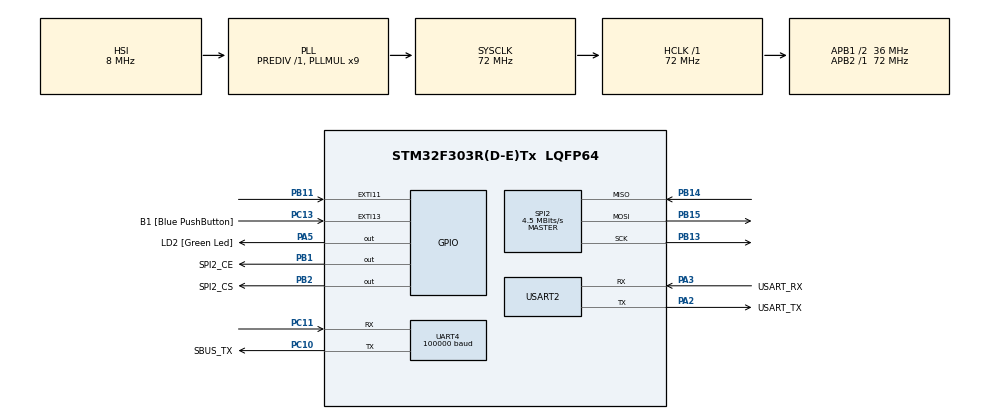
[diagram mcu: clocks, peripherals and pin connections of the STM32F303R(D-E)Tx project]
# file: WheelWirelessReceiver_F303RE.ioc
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Dma.Request0=UART4_TX
Dma.Request1=SPI2_RX
Dma.Request2=SPI2_TX
Dma.SPI2_RX.1.Direction=DMA_PERIPH_TO_MEMORY
Dma.SPI2_RX.1.Instance=DMA1_Channel4
Dma.SPI2_RX.1.MemDataAlignment=DMA_MDATAALIGN_BYTE
Dma.SPI2_RX.1.MemInc=DMA_MINC_ENABLE
Dma.SPI2_RX.1.Mode=DMA_NORMAL
Dma.SPI2_RX.1.PeriphDataAlignment=DMA_PDATAALIGN_BYTE
Dma.SPI2_RX.1.PeriphInc=DMA_PINC_DISABLE
Dma.SPI2_RX.1.Priority=DMA_PRIORITY_LOW
Dma.SPI2_TX.2.Direction=DMA_MEMORY_TO_PERIPH
Dma.SPI2_TX.2.Instance=DMA1_Channel5
Dma.SPI2_TX.2.MemDataAlignment=DMA_MDATAALIGN_BYTE
Dma.SPI2_TX.2.MemInc=DMA_MINC_ENABLE
Dma.SPI2_TX.2.Mode=DMA_NORMAL
Dma.SPI2_TX.2.PeriphDataAlignment=DMA_PDATAALIGN_BYTE
Dma.SPI2_TX.2.PeriphInc=DMA_PINC_DISABLE
Dma.SPI2_TX.2.Priority=DMA_PRIORITY_LOW
Dma.UART4_TX.0.Direction=DMA_MEMORY_TO_PERIPH
Dma.UART4_TX.0.Instance=DMA2_Channel5
Dma.UART4_TX.0.MemDataAlignment=DMA_MDATAALIGN_BYTE
Dma.UART4_TX.0.MemInc=DMA_MINC_ENABLE
Dma.UART4_TX.0.Mode=DMA_NORMAL
Dma.UART4_TX.0.PeriphDataAlignment=DMA_PDATAALIGN_BYTE
Dma.UART4_TX.0.PeriphInc=DMA_PINC_DISABLE
Dma.UART4_TX.0.Priority=DMA_PRIORITY_LOW
Mcu.Family=STM32F3
Mcu.Name=STM32F303R(D-E)Tx
Mcu.Package=LQFP64
NVIC.DMA1_Channel4_IRQn=true\:0\:0\:false\:false\:true\:false\:true\:true
NVIC.DMA1_Channel5_IRQn=true\:0\:0\:false\:false\:true\:false\:true\:true
NVIC.DMA2_Channel5_IRQn=true\:0\:0\:false\:false\:true\:false\:true\:true
NVIC.PriorityGroup=NVIC_PRIORITYGROUP_0
NVIC.SPI2_IRQn=true\:0\:0\:false\:false\:true\:true\:true\:true
NVIC.UART4_IRQn=true\:0\:0\:false\:false\:true\:true\:true\:true
PA13.GPIO_Label=TMS
PA13.Mode=Serial_Wire
PA13.Signal=SYS_JTMS-SWDIO
PA14.GPIO_Label=TCK
PA14.Mode=Serial_Wire
PA14.Signal=SYS_JTCK-SWCLK
PA2.GPIO_Label=USART_TX
PA2.GPIO_Mode=GPIO_MODE_AF_PP
PA2.GPIO_PuPd=GPIO_NOPULL
PA2.GPIO_Speed=GPIO_SPEED_FREQ_LOW
PA2.Mode=Asynchronous
PA2.Signal=USART2_TX
PA3.GPIO_Label=USART_RX
PA3.GPIO_Mode=GPIO_MODE_AF_PP
PA3.GPIO_PuPd=GPIO_NOPULL
PA3.GPIO_Speed=GPIO_SPEED_FREQ_LOW
PA3.Mode=Asynchronous
PA3.Signal=USART2_RX
PA5.GPIO_Label=LD2 [Green Led]
PA5.GPIO_Mode=GPIO_MODE_OUTPUT_PP
PA5.GPIO_PuPd=GPIO_NOPULL
PA5.GPIO_Speed=GPIO_SPEED_FREQ_LOW
PA5.Signal=GPIO_Output
PB1.GPIO_Label=SPI2_CE
PB1.GPIO_Speed=GPIO_SPEED_FREQ_HIGH
PB1.Signal=GPIO_Output
PB11.Signal=GPXTI11
PB13.Mode=Full_Duplex_Master
PB13.Signal=SPI2_SCK
PB14.Mode=Full_Duplex_Master
PB14.Signal=SPI2_MISO
PB15.Mode=Full_Duplex_Master
PB15.Signal=SPI2_MOSI
PB2.GPIO_Label=SPI2_CS
PB2.GPIO_Speed=GPIO_SPEED_FREQ_HIGH
PB2.Signal=GPIO_Output
PB3.GPIO_Label=SWO
PB3.Signal=SYS_JTDO-TRACESWO
PC10.GPIO_Label=SBUS_TX
PC10.Mode=Asynchronous
PC10.Signal=UART4_TX
PC11.Mode=Asynchronous
PC11.Signal=UART4_RX
PC13.GPIO_Label=B1 [Blue PushButton]
PC13.GPIO_ModeDefaultEXTI=GPIO_MODE_IT_FALLING
PC13.Signal=GPXTI13
PC14-OSC32_IN.Mode=LSE-External-Oscillator
PC14-OSC32_IN.Signal=RCC_OSC32_IN
PC15-OSC32_OUT.Mode=LSE-External-Oscillator
PC15-OSC32_OUT.Signal=RCC_OSC32_OUT
PF0-OSC_IN.Mode=HSE-External-Clock-Source
PF0-OSC_IN.Signal=RCC_OSC_IN
PF1-OSC_OUT.Signal=RCC_OSC_OUT
ProjectManager.HeapSize=0x200
ProjectManager.StackSize=0x400
ProjectManager.TargetToolchain=STM32CubeIDE
RCC.AHBFreq_Value=72000000
RCC.APB1CLKDivider=RCC_HCLK_DIV2
RCC.APB1Freq_Value=36000000
RCC.APB1TimFreq_Value=72000000
RCC.APB2Freq_Value=72000000
RCC.APB2TimFreq_Value=72000000
RCC.CortexFreq_Value=72000000
RCC.HCLKFreq_Value=72000000
RCC.HSE_VALUE=8000000
RCC.HSI_VALUE=8000000
RCC.PLLM=8
RCC.PLLMUL=RCC_PLL_MUL9
RCC.PLLN=336
RCC.PLLP=RCC_PLLP_DIV4
RCC.PLLQ=7
RCC.RCC_PLLsource_Clock_Source_FROM_HSE=RCC_HSE_PREDIV_DIV2
RCC.SYSCLKFreq_VALUE=72000000
RCC.SYSCLKSourceVirtual=RCC_SYSCLKSOURCE_PLLCLK
RCC.USBFreq_Value=72000000
SPI2.BaudRatePrescaler=SPI_BAUDRATEPRESCALER_8
SPI2.CalculateBaudRate=4.5 MBits/s
SPI2.DataSize=SPI_DATASIZE_8BIT
SPI2.Direction=SPI_DIRECTION_2LINES
SPI2.Mode=SPI_MODE_MASTER
SPI2.VirtualType=VM_MASTER
UART4.BaudRate=100000
UART4.Mode=MODE_TX
UART4.Parity=PARITY_EVEN
UART4.StopBits=UART_STOPBITS_2
UART4.TxPinLevelInvertParam=UART_ADVFEATURE_TXINV_ENABLE
UART4.WordLength=WORDLENGTH_9B
USART2.VirtualMode-Asynchronous=VM_ASYNC
board=NUCLEO-F303RE

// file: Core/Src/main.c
/* USER CODE BEGIN Header */
/**
  ******************************************************************************
  * @file           : main.c
  * @brief          : Main program body
  ******************************************************************************
  * @attention
  *
  * Copyright (c) 2024 STMicroelectronics.
  * All rights reserved.
  *
  * This software is licensed under terms that can be found in the LICENSE file
  * in the root directory of this software component.
  * If no LICENSE file comes with this software, it is provided AS-IS.
  *
  ******************************************************************************
  */
/* USER CODE END Header */
#include "main.h"
#include "dma.h"
#include "spi.h"
#include "usart.h"
#include "gpio.h"

/* USER CODE BEGIN Includes */
#include "sbus.h"
#include "NRF24L01.h"
/* USER CODE END Includes */

void SystemClock_Config(void);
/* USER CODE BEGIN PFP */
void sendSbusChannels(uint16_t *sbusChannels);
void convert16to8(const uint16_t *input16, uint8_t *output8);
void convert8to16(const uint8_t *input8, uint16_t *output16);

/* USER CODE END PFP */

/* USER CODE BEGIN 0 */
uint8_t RxAddress[] = {0x00,0xDD,0xCC,0xBB,0xAA};
uint8_t RxData[32];
uint16_t output16[32];
uint8_t data[50];
uint16_t sbusChannels[16] = {500, 1811, 1023, 900, 1900, 400, 1500, 1100, 1100, 1100, 1100, 1100, 1100, 1100, 1100, 1100};
/* USER CODE END 0 */

int main(void)
{

  /* MCU Configuration--------------------------------------------------------*/

  /* Reset of all peripherals, Initializes the Flash interface and the Systick. */
  HAL_Init();

  /* Configure the system clock */
  SystemClock_Config();

  /* Initialize all configured peripherals */
  MX_GPIO_Init();
  MX_DMA_Init();
  MX_USART2_UART_Init();
  MX_SPI2_Init();
  MX_UART4_Init();
  /* USER CODE BEGIN 2 */
  NRF24_Init();
  NRF24_RxMode(RxAddress, 10);
  NRF24_ReadAll(data);
  /* USER CODE END 2 */

  /* Infinite loop */
  /* USER CODE BEGIN WHILE */
  while (1)
  {
	  if (isDataAvailable(2) == 1)
	  {
		  NRF24_Receive(RxData);
		  convert8to16(RxData, output16);
		  HAL_GPIO_TogglePin(GPIOA, GPIO_PIN_5);
	  }

	  sendSbusChannels(output16);
	  HAL_Delay(6);
    /* USER CODE END WHILE */

  }
}

void SystemClock_Config(void)
{
  RCC_OscInitTypeDef RCC_OscInitStruct = {0};
  RCC_ClkInitTypeDef RCC_ClkInitStruct = {0};
  RCC_PeriphCLKInitTypeDef PeriphClkInit = {0};

  /** Initializes the RCC Oscillators according to the specified parameters
  * in the RCC_OscInitTypeDef structure.
  */
  RCC_OscInitStruct.OscillatorType = RCC_OSCILLATORTYPE_HSI;
  RCC_OscInitStruct.HSIState = RCC_HSI_ON;
  RCC_OscInitStruct.HSICalibrationValue = RCC_HSICALIBRATION_DEFAULT;
  RCC_OscInitStruct.PLL.PLLState = RCC_PLL_ON;
  RCC_OscInitStruct.PLL.PLLSource = RCC_PLLSOURCE_HSI;
  RCC_OscInitStruct.PLL.PLLMUL = RCC_PLL_MUL9;
  RCC_OscInitStruct.PLL.PREDIV = RCC_PREDIV_DIV1;
  if (HAL_RCC_OscConfig(&RCC_OscInitStruct) != HAL_OK)
  {
    Error_Handler();
  }

  /** Initializes the CPU, AHB and APB buses clocks
  */
  RCC_ClkInitStruct.ClockType = RCC_CLOCKTYPE_HCLK|RCC_CLOCKTYPE_SYSCLK
                              |RCC_CLOCKTYPE_PCLK1|RCC_CLOCKTYPE_PCLK2;
  RCC_ClkInitStruct.SYSCLKSource = RCC_SYSCLKSOURCE_PLLCLK;
  RCC_ClkInitStruct.AHBCLKDivider = RCC_SYSCLK_DIV1;
  RCC_ClkInitStruct.APB1CLKDivider = RCC_HCLK_DIV2;
  RCC_ClkInitStruct.APB2CLKDivider = RCC_HCLK_DIV1;

  if (HAL_RCC_ClockConfig(&RCC_ClkInitStruct, FLASH_LATENCY_2) != HAL_OK)
  {
    Error_Handler();
  }
  PeriphClkInit.PeriphClockSelection = RCC_PERIPHCLK_USART2|RCC_PERIPHCLK_UART4;
  PeriphClkInit.Usart2ClockSelection = RCC_USART2CLKSOURCE_PCLK1;
  PeriphClkInit.Uart4ClockSelection = RCC_UART4CLKSOURCE_PCLK1;
  if (HAL_RCCEx_PeriphCLKConfig(&PeriphClkInit) != HAL_OK)
  {
    Error_Handler();
  }
}

/* USER CODE BEGIN 4 */
void convert16to8(const uint16_t *input16, uint8_t *output8) {
    for (int i = 0; i < 16; ++i) {
        output8[2 * i] = (uint8_t)(input16[i] & 0x00FF);      // Dolny bajt
        output8[2 * i + 1] = (uint8_t)((input16[i] >> 8) & 0x00FF);  // Górny bajt
    }
}

void convert8to16(const uint8_t *input8, uint16_t *output16) {
    for (int i = 0; i < 16; ++i) {
        output16[i] = (uint16_t)input8[2 * i] | ((uint16_t)input8[2 * i + 1] << 8);
    }
}
/* USER CODE END 4 */

void Error_Handler(void)
{
  __disable_irq();
  while (1)
  {
  }
}
